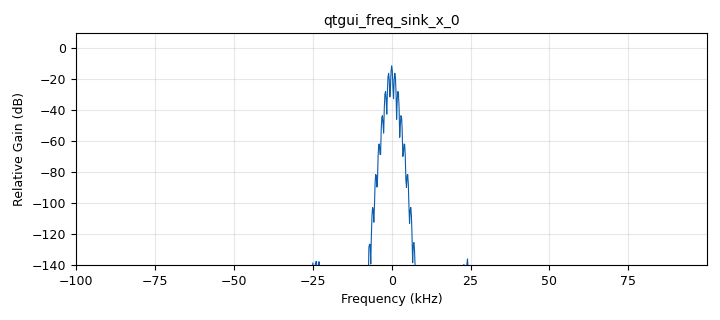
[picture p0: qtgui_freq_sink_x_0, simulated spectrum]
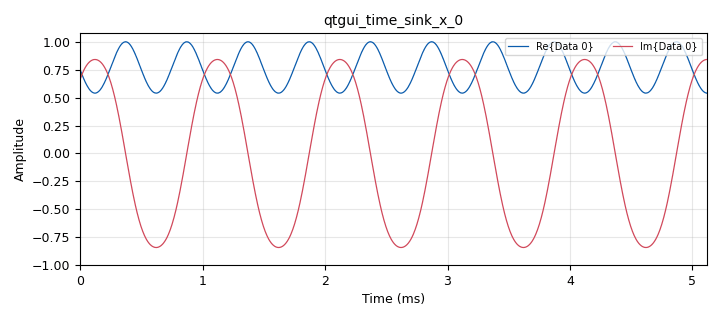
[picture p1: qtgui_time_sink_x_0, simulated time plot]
options:
  parameters:
    generate_options: qt_gui
    id: Andres_LAB4_PARTE_B
    output_language: python
    title: Not titled yet
  states: {}

blocks:
- name: Ac
  id: variable_qtgui_range
  parameters:
    label: 'amplitud portadora '
    start: '0'
    step: '1e-6'
    stop: '1'
    value: '1'
  states: {}
- name: Am
  id: variable_qtgui_range
  parameters:
    label: 'amplitud mensaje '
    start: '0'
    step: '1e-6'
    stop: '1'
    value: '1'
  states: {}
- name: GTX
  id: variable_qtgui_range
  parameters:
    label: 'ganancia trasmisor '
    start: '0'
    step: '1'
    stop: '30'
    value: '1'
  states: {}
- name: fc
  id: variable_qtgui_range
  parameters:
    label: frecuencia portadora
    start: 50e6
    step: 1e6
    stop: 20e9
    value: 50e6
  states: {}
- name: fm
  id: variable_qtgui_range
  parameters:
    label: frecuencia del mensaje
    start: '1000'
    step: '100'
    stop: '20000'
    value: '1000'
  states: {}
- name: kp
  id: variable_qtgui_range
  parameters:
    label: coeficiente kp
    start: '0'
    step: '1e-6'
    stop: '10'
    value: '1'
  states: {}
- name: samp_rate
  id: variable
  parameters:
    value: 200E3
  states: {}
- name: analog_sig_source_x_0
  id: analog_sig_source_x
  parameters:
    amp: Am
    freq: fm
    offset: '0'
    phase: '0'
    samp_rate: samp_rate
    type: float
    waveform: analog.GR_COS_WAVE
  states: {}
- name: blocks_float_to_complex_0
  id: blocks_float_to_complex
  parameters: {}
  states: {}
- name: blocks_multiply_const_vxx_0
  id: blocks_multiply_const_vxx
  parameters:
    const: kp
    type: float
  states: {}
- name: blocks_multiply_const_vxx_0_0
  id: blocks_multiply_const_vxx
  parameters:
    const: Ac
    type: complex
  states: {}
- name: blocks_transcendental_0
  id: blocks_transcendental
  parameters:
    name: cos
    type: float
  states: {}
- name: blocks_transcendental_0_0
  id: blocks_transcendental
  parameters:
    name: sin
    type: float
  states: {}
- name: qtgui_freq_sink_x_0
  id: qtgui_freq_sink_x
  parameters:
    bw: samp_rate
    fc: '0'
    fftsize: '1024'
    type: complex
  states: {}
- name: qtgui_time_sink_x_0
  id: qtgui_time_sink_x
  parameters:
    size: '1024'
    srate: samp_rate
    type: complex
  states: {}
- name: uhd_usrp_sink_0
  id: uhd_usrp_sink
  parameters:
    ant0: '"TX/RX"'
    center_freq0: fc
    gain0: GTX
    samp_rate: samp_rate
    sync: pc_clock
    type: fc32
  states: {}

connections:
- [analog_sig_source_x_0, '0', blocks_multiply_const_vxx_0, '0']
- [blocks_float_to_complex_0, '0', blocks_multiply_const_vxx_0_0, '0']
- [blocks_multiply_const_vxx_0, '0', blocks_transcendental_0, '0']
- [blocks_multiply_const_vxx_0, '0', blocks_transcendental_0_0, '0']
- [blocks_multiply_const_vxx_0_0, '0', qtgui_freq_sink_x_0, '0']
- [blocks_multiply_const_vxx_0_0, '0', qtgui_time_sink_x_0, '0']
- [blocks_multiply_const_vxx_0_0, '0', uhd_usrp_sink_0, '0']
- [blocks_transcendental_0, '0', blocks_float_to_complex_0, '0']
- [blocks_transcendental_0_0, '0', blocks_float_to_complex_0, '1']

metadata:
  file_format: 1
